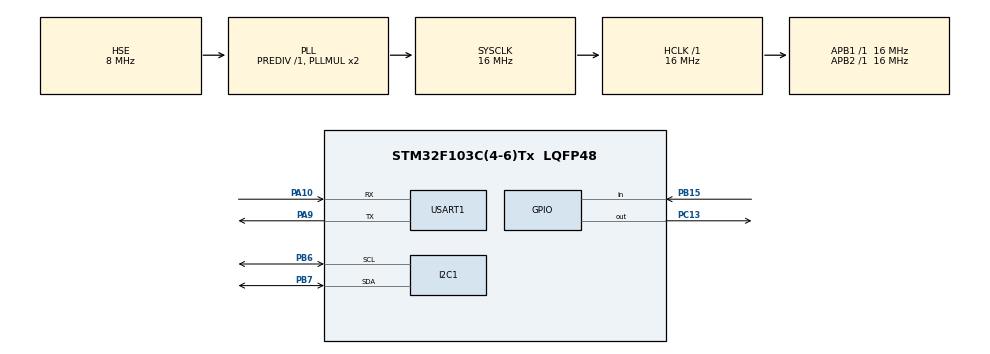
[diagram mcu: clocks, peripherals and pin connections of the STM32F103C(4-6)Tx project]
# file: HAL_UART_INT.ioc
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Mcu.Family=STM32F1
Mcu.Name=STM32F103C(4-6)Tx
Mcu.Package=LQFP48
NVIC.PriorityGroup=NVIC_PRIORITYGROUP_4
NVIC.USART1_IRQn=true\:0\:0\:false\:false\:true\:true\:true\:true
PA10.Mode=Asynchronous
PA10.Signal=USART1_RX
PA9.Mode=Asynchronous
PA9.Signal=USART1_TX
PB15.GPIO_PuPd=GPIO_PULLUP
PB15.Signal=GPIO_Input
PB6.Mode=I2C
PB6.Signal=I2C1_SCL
PB7.Mode=I2C
PB7.Signal=I2C1_SDA
PC13-TAMPER-RTC.GPIO_ModeDefaultOutputPP=GPIO_MODE_OUTPUT_OD
PC13-TAMPER-RTC.GPIO_PuPd=GPIO_NOPULL
PC13-TAMPER-RTC.PinState=GPIO_PIN_SET
PC13-TAMPER-RTC.Signal=GPIO_Output
PD0-OSC_IN.Mode=HSE-External-Oscillator
PD0-OSC_IN.Signal=RCC_OSC_IN
PD1-OSC_OUT.Mode=HSE-External-Oscillator
PD1-OSC_OUT.Signal=RCC_OSC_OUT
ProjectManager.HeapSize=0x200
ProjectManager.StackSize=0x400
ProjectManager.TargetToolchain=MDK-ARM V5.32
RCC.AHBFreq_Value=16000000
RCC.APB1Freq_Value=16000000
RCC.APB1TimFreq_Value=16000000
RCC.APB2Freq_Value=16000000
RCC.APB2TimFreq_Value=16000000
RCC.HCLKFreq_Value=16000000
RCC.PLLSourceVirtual=RCC_PLLSOURCE_HSE
RCC.SYSCLKFreq_VALUE=16000000
RCC.SYSCLKSource=RCC_SYSCLKSOURCE_PLLCLK
RCC.USBFreq_Value=16000000
USART1.VirtualMode=VM_ASYNC
VP_SYS_VS_ND.Mode=No_Debug
board=custom

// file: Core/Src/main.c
/* USER CODE BEGIN Header */
/**
  ******************************************************************************
  * @file           : main.c
  * @brief          : Main program body
  ******************************************************************************
  * @attention
  *
  * Copyright (c) 2023 STMicroelectronics.
  * All rights reserved.
  *
  * This software is licensed under terms that can be found in the LICENSE file
  * in the root directory of this software component.
  * If no LICENSE file comes with this software, it is provided AS-IS.
  *
  ******************************************************************************
  */
/* USER CODE END Header */
#include "main.h"
#include "i2c.h"
#include "usart.h"
#include "gpio.h"
#include "ringbuffer.h"

/* USER CODE BEGIN Includes */
#include <string.h>
#include <stdio.h>
#include <stdlib.h>
#include "ringbuffer.h"

/* USER CODE END Includes */

/* USER CODE BEGIN PD */
#define WELCOME_MSG "Welcome to the UART --> I2C/SPI Tool!\r\n"
#define MAIN_MENU   "Select the option you are interested in:\r\n\t1. Toggle LD2 LED\r\n\t2. Read USER BUTTON status\r\n\t3. Clear screen and print this message "
#define PROMPT "\r\n> "

/* USER CODE END PD */

/* USER CODE BEGIN PV */
char readBuf[1];
uint8_t txData;

__IO ITStatus UartReady = SET;
RingBuffer txBuf, rxBuf;

/* USER CODE END PV */

void SystemClock_Config(void);
/* USER CODE BEGIN PFP */
void performCriticalTasks(void);
void printWelcomeMessage(void);
uint8_t processUserInput(uint8_t opt);
int8_t readUserInput(void);
uint8_t UART_Transmit(UART_HandleTypeDef *huart, uint8_t *pData, uint16_t len);

/* USER CODE END PFP */

int main(void)
{
  /* USER CODE BEGIN 1 */
  uint8_t opt = 0;

  /* USER CODE END 1 */

  /* MCU Configuration--------------------------------------------------------*/

  /* Reset of all peripherals, Initializes the Flash interface and the Systick. */
	HAL_Init();

  /* Configure the system clock */
  SystemClock_Config();

  /* Initialize all configured peripherals */
  MX_GPIO_Init();
  MX_I2C1_Init();
  MX_USART1_UART_Init();
  /* USER CODE BEGIN 2 */
  printMessage:

	printWelcomeMessage();

  /* USER CODE END 2 */

  /* Infinite loop */
  while (1)
  {

    /* USER CODE BEGIN 3 */
    opt = readUserInput();
    if(opt > 0)
    {
      processUserInput(opt);
      if(opt == 3)
        goto printMessage;
    }
    performCriticalTasks();
  }
  /* USER CODE END 3 */
}

void SystemClock_Config(void)
{
  RCC_OscInitTypeDef RCC_OscInitStruct = {0};
  RCC_ClkInitTypeDef RCC_ClkInitStruct = {0};

  /** Initializes the RCC Oscillators according to the specified parameters
  * in the RCC_OscInitTypeDef structure.
  */
  RCC_OscInitStruct.OscillatorType = RCC_OSCILLATORTYPE_HSE;
  RCC_OscInitStruct.HSEState = RCC_HSE_ON;
  RCC_OscInitStruct.HSEPredivValue = RCC_HSE_PREDIV_DIV1;
  RCC_OscInitStruct.HSIState = RCC_HSI_ON;
  RCC_OscInitStruct.PLL.PLLState = RCC_PLL_ON;
  RCC_OscInitStruct.PLL.PLLSource = RCC_PLLSOURCE_HSE;
  RCC_OscInitStruct.PLL.PLLMUL = RCC_PLL_MUL2;
  if (HAL_RCC_OscConfig(&RCC_OscInitStruct) != HAL_OK)
  {
    Error_Handler();
  }

  /** Initializes the CPU, AHB and APB buses clocks
  */
  RCC_ClkInitStruct.ClockType = RCC_CLOCKTYPE_HCLK|RCC_CLOCKTYPE_SYSCLK
                              |RCC_CLOCKTYPE_PCLK1|RCC_CLOCKTYPE_PCLK2;
  RCC_ClkInitStruct.SYSCLKSource = RCC_SYSCLKSOURCE_PLLCLK;
  RCC_ClkInitStruct.AHBCLKDivider = RCC_SYSCLK_DIV1;
  RCC_ClkInitStruct.APB1CLKDivider = RCC_HCLK_DIV1;
  RCC_ClkInitStruct.APB2CLKDivider = RCC_HCLK_DIV1;

  if (HAL_RCC_ClockConfig(&RCC_ClkInitStruct, FLASH_LATENCY_0) != HAL_OK)
  {
    Error_Handler();
  }
}

/* USER CODE BEGIN 4 */
//
void HAL_UART_RxCpltCallback(UART_HandleTypeDef *UartHandle)
{
 /* Set transmission flag: transfer complete*/
 UartReady = SET;
}

void performCriticalTasks(void) {
  HAL_Delay(100);
}

void printWelcomeMessage(void) {
  char *strings[] = {"\033[0;0H", "\033[2J", WELCOME_MSG, MAIN_MENU, PROMPT};

  for (uint8_t i = 0; i < 5; i++) {
   UART_Transmit(&huart1, (uint8_t*)strings[i], strlen(strings[i]));

  }
}

/***************************************************************
*
*
*
*****************************************************************/
int8_t readUserInput(void)
{
  int8_t retVal = -1;

  if(UartReady == SET)
  {
    UartReady = RESET;
    HAL_UART_Receive_IT(&huart1, (uint8_t*)readBuf, 1);
    retVal = atoi(readBuf);
  }
  return retVal;
}

uint8_t processUserInput(uint8_t opt)
{
  char msg[30];

  if(!opt || opt > 3)
    return 0;

  sprintf(msg, "%d", opt);
UART_Transmit(&huart1, (uint8_t*)msg, strlen(msg));

  switch(opt) {
  case 1:
    HAL_GPIO_TogglePin(GPIOC, GPIO_PIN_13);
    break;
  case 2:
    sprintf(msg, "\r\nUSER BUTTON status: %s", HAL_GPIO_ReadPin(GPIOB, GPIO_PIN_15) == GPIO_PIN_RESET ? "PRESSED" : "RELEASED");
  UART_Transmit(&huart1, (uint8_t*)msg, strlen(msg));
    break;
  case 3:
    return 2;
  };

 UART_Transmit(&huart1, (uint8_t*)PROMPT, strlen(PROMPT));
  return 1;
}

//****************************/
//send one Byte, write onebyte to ringbuffer
//*****************/

uint8_t UART_Transmit(UART_HandleTypeDef *huart, uint8_t *pData, uint16_t len)
{
  if(HAL_UART_Transmit_IT(huart, pData, len) != HAL_OK)
  {
    if(RingBuffer_Write(&txBuf, pData, len) != RING_BUFFER_OK)
      return 0;
  }
  return 1;
}

/************ byli 20230823
*Brief : TX complete INT recall  , read one charactor from ringbuffer &send
*        INT works @ every  charactor
*input: huart port
*output: None
*
**************************/

void HAL_UART_TxCpltCallback(UART_HandleTypeDef *huart)
{
  if(RingBuffer_GetDataLength(&txBuf) > 0)
  {
    RingBuffer_Read(&txBuf, &txData, 1);
    HAL_UART_Transmit_IT(huart, &txData, 1);
  }
}

/* USER CODE END 4 */

void Error_Handler(void)
{
  __disable_irq();
  while (1)
  {
  }
}
